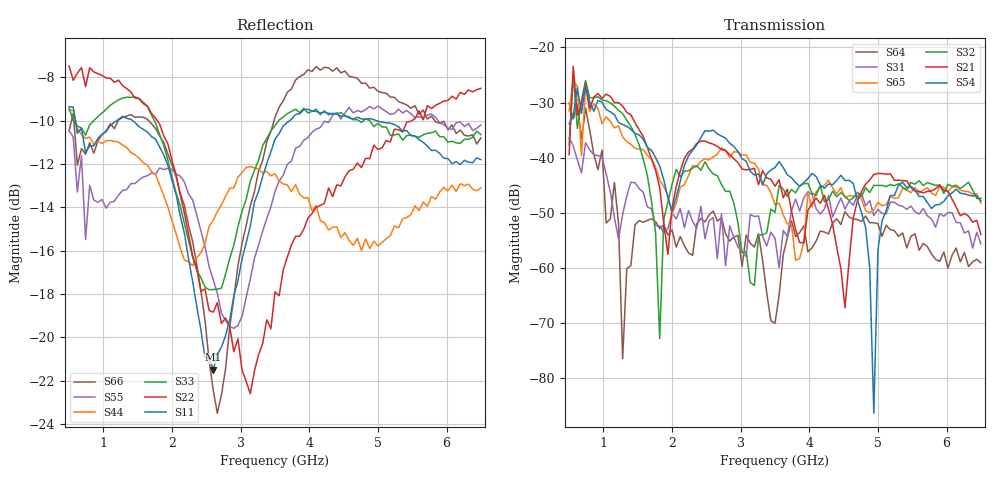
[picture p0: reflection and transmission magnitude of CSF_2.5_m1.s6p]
!Keysight Technologies,M9804A,MY58100912,A.14.10.03
!Date: Thursday, April 27, 2023 10:28:33
!Correction: S11(C  6-Port  )
!S12(C  6-Port  )
!S13(C  6-Port  )
!S14(C  6-Port  )
!S15(C  6-Port  )
!S16(C  6-Port  )
!S21(C  6-Port  )
!S22(C  6-Port  )
!S23(C  6-Port  )
!S24(C  6-Port  )
!S25(C  6-Port  )
!S26(C  6-Port  )
!S31(C  6-Port  )
!S32(C  6-Port  )
!S33(C  6-Port  )
!S34(C  6-Port  )
!S35(C  6-Port  )
!S36(C  6-Port  )
!S41(C  6-Port  )
!S42(C  6-Port  )
!S43(C  6-Port  )
!S44(C  6-Port  )
!S45(C  6-Port  )
!S46(C  6-Port  )
!S51(C  6-Port  )
!S52(C  6-Port  )
!S53(C  6-Port  )
!S54(C  6-Port  )
!S55(C  6-Port  )
!S56(C  6-Port  )
!S61(C  6-Port  )
!S62(C  6-Port  )
!S63(C  6-Port  )
!S64(C  6-Port  )
!S65(C  6-Port  )
!S66(C  6-Port  )
!S6P File: Measurement: :
# Hz S  RI  R 50
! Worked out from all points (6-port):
!   101 points, 500 MHz to 6.5 GHz, reference 50 ohm
!   strongest paths, dB at 500 MHz, 2 GHz, 3.5 GHz, 5 GHz, 6.5 GHz:
!     S54: -33.9, -49.7, -41.8, -56.8, -47.8
!     S21: -39.4, -49.1, -45.2, -42.9, -54.0
!     S32: -37.6, -44.8, -49.9, -45.0, -47.4
!     S65: -31.5, -50.3, -48.5, -48.1, -48.2
!     S31: -36.4, -50.1, -54.6, -49.4, -55.6
!     S64: -30.1, -53.1, -70.1, -52.0, -59.1
!   lowest |S11| = -21.5 dB at 2.6 GHz (marker M1), VSWR 1.18, Z = 42.5 + j2.18 ohm
!   |S11| at or under -10 dB: 590.8 MHz to 1.195 GHz (604.3 MHz wide, 67.7 % of centre); 1.423 GHz to 3.715 GHz (2.293 GHz wide, 89.3 % of centre); 4.974 GHz to end of sweep
